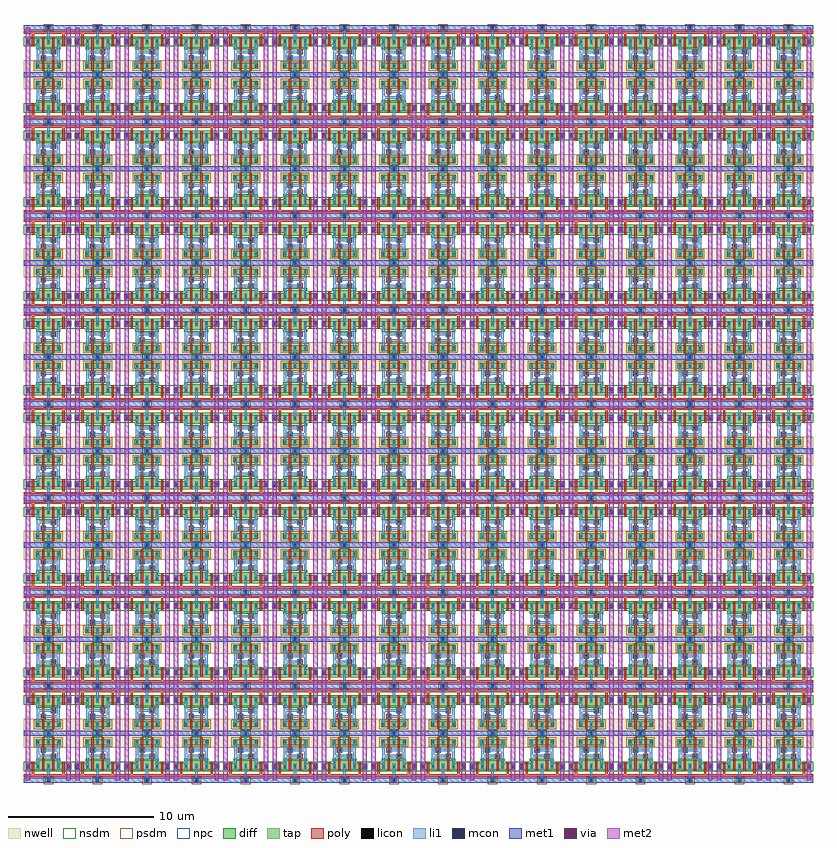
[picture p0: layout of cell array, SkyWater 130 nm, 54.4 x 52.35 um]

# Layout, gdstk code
import gdstk
lib = gdstk.Library(unit=1e-6, precision=1e-09)
def R(c, l, rs):  # rectangles x0, y0, x1, y1
    for r in rs: c.add(gdstk.rectangle(r[:2], r[2:], *l))
def A(c, l, x, y, w, h, nx, ny, dx, dy):  # array of equal rectangles
    R(c, l, [(x+i*dx, y+j*dy, x+i*dx+w, y+j*dy+h) for i in range(nx) for j in range(ny)])
nwell = (64, 20)
diff = (65, 20)
tap = (65, 44)
poly = (66, 20)
licon = (66, 44)
li1 = (67, 20)
mcon = (67, 44)
met1 = (68, 20)
via = (68, 44)
met2 = (69, 20)
nsdm = (93, 44)
psdm = (94, 20)
npc = (95, 20)

bitcell = lib.new_cell('bitcell')
R(bitcell, nwell, [(-0.3,1.5,3.1,2.81)])
R(bitcell, diff, [(-0.165,0,2.965,0.42), (0.7,0.42,2.1,0.63), (0.535,1.68,2.265,2.1)])
R(bitcell, tap, [(1.195,-0.87,1.605,-0.61), (1.195,2.37,1.605,2.63)])
R(bitcell, poly, [(-0.3,-0.49,3.1,-0.34), (0.275,-0.34,0.425,0.55), (2.375,-0.34,2.525,0.55), (0.975,-0.13,1.125,1.215), (1.675,-0.13,1.825,0.785), (1.585,0.785,1.915,1.055), (1.675,1.055,1.825,2.23), (0.885,1.215,1.215,1.485), (0.975,1.485,1.125,2.23)])
A(bitcell, licon, -0.085, 0.125, 0.17, 0.17, 5, 1, 0.7, 0)
A(bitcell, licon, 0.615, 1.805, 0.17, 0.17, 3, 1, 0.7, 0)
R(bitcell, licon, [(1.315,-0.825,1.485,-0.655), (1.665,0.835,1.835,1.005), (0.965,1.265,1.135,1.435), (1.315,2.415,1.485,2.585)])
R(bitcell, li1, [(1.315,-0.915,1.485,0.385), (-0.085,0.035,0.085,0.385), (0.615,0.035,0.785,0.835), (2.015,0.035,2.185,1.265), (2.715,0.035,2.885,0.385), (1.665,0.755,1.835,0.835), (0.615,0.835,1.835,1.005), (0.615,1.005,0.785,2.065), (1.665,1.005,1.835,1.085), (0.965,1.185,1.135,1.265), (0.965,1.265,2.185,1.435), (0.965,1.435,1.135,1.515), (2.015,1.435,2.185,2.065), (1.315,1.715,1.485,2.675)])
R(bitcell, mcon, [(1.315,-0.825,1.485,-0.655), (-0.085,0.125,0.085,0.295), (2.715,0.125,2.885,0.295), (1.315,2.415,1.485,2.585)])
R(bitcell, met1, [(-0.3,-0.92,3.1,-0.56), (-0.16,0.05,0.16,0.37), (2.64,0.05,2.96,0.37), (-0.3,2.32,3.1,2.68)])
R(bitcell, via, [(-0.075,0.135,0.075,0.285), (2.725,0.135,2.875,0.285)])
R(bitcell, met2, [(-0.15,-0.74,0.15,2.5), (2.65,-0.74,2.95,2.5)])
R(bitcell, nsdm, [(-0.29,-0.125,3.09,0.545), (0.575,0.545,2.225,0.755), (1.07,2.245,1.73,2.755)])
R(bitcell, psdm, [(1.07,-0.995,1.73,-0.485), (0.41,1.555,2.39,2.225)])
R(bitcell, npc, [(1.565,0.735,1.935,1.105), (0.865,1.165,1.235,1.535)])
bitcell.add(gdstk.Label('BL', (0,1), layer=69, texttype=5))
bitcell.add(gdstk.Label('BLB', (2.8,1), layer=69, texttype=5))
bitcell.add(gdstk.Label('WL', (1.4,-0.415), layer=66, texttype=5))
bitcell.add(gdstk.Label('VDD', (1.4,2.5), layer=68, texttype=5))
bitcell.add(gdstk.Label('GND', (1.4,-0.74), layer=68, texttype=5))
bitcell.add(gdstk.Label('Q', (0.7,1.1), layer=67, texttype=5))
bitcell.add(gdstk.Label('QB', (2.1,0.6), layer=67, texttype=5))

array = lib.new_cell('array')
A(array, nsdm, 3.09, -0.125, 0.02, 0.67, 15, 2, 3.4, 4.58)
A(array, nsdm, 3.09, 6.355, 0.02, 0.67, 15, 2, 3.4, 4.58)
A(array, nsdm, 3.09, 12.835, 0.02, 0.67, 15, 2, 3.4, 4.58)
A(array, nsdm, 3.09, 19.315, 0.02, 0.67, 15, 2, 3.4, 4.58)
A(array, nsdm, 3.09, 25.795, 0.02, 0.67, 15, 2, 3.4, 4.58)
A(array, nsdm, 3.09, 32.275, 0.02, 0.67, 15, 2, 3.4, 4.58)
A(array, nsdm, 3.09, 38.755, 0.02, 0.67, 15, 2, 3.4, 4.58)
A(array, nsdm, 3.09, 45.235, 0.02, 0.67, 15, 2, 3.4, 4.58)
array.add(gdstk.Reference(bitcell, (0,0)))
array.add(gdstk.Reference(bitcell, (3.4,0)))
array.add(gdstk.Reference(bitcell, (6.8,0)))
array.add(gdstk.Reference(bitcell, (10.2,0)))
array.add(gdstk.Reference(bitcell, (13.6,0)))
array.add(gdstk.Reference(bitcell, (17,0)))
array.add(gdstk.Reference(bitcell, (20.4,0)))
array.add(gdstk.Reference(bitcell, (23.8,0)))
array.add(gdstk.Reference(bitcell, (27.2,0)))
array.add(gdstk.Reference(bitcell, (30.6,0)))
array.add(gdstk.Reference(bitcell, (34,0)))
array.add(gdstk.Reference(bitcell, (37.4,0)))
array.add(gdstk.Reference(bitcell, (40.8,0)))
array.add(gdstk.Reference(bitcell, (44.2,0)))
array.add(gdstk.Reference(bitcell, (47.6,0)))
array.add(gdstk.Reference(bitcell, (51,0)))
array.add(gdstk.Reference(bitcell, (0,6.48)))
array.add(gdstk.Reference(bitcell, (0,5), x_reflection=True))
array.add(gdstk.Reference(bitcell, (3.4,6.48)))
array.add(gdstk.Reference(bitcell, (3.4,5), x_reflection=True))
array.add(gdstk.Reference(bitcell, (6.8,6.48)))
array.add(gdstk.Reference(bitcell, (6.8,5), x_reflection=True))
array.add(gdstk.Reference(bitcell, (10.2,6.48)))
array.add(gdstk.Reference(bitcell, (10.2,5), x_reflection=True))
array.add(gdstk.Reference(bitcell, (13.6,6.48)))
array.add(gdstk.Reference(bitcell, (13.6,5), x_reflection=True))
array.add(gdstk.Reference(bitcell, (17,6.48)))
array.add(gdstk.Reference(bitcell, (17,5), x_reflection=True))
array.add(gdstk.Reference(bitcell, (20.4,6.48)))
array.add(gdstk.Reference(bitcell, (20.4,5), x_reflection=True))
array.add(gdstk.Reference(bitcell, (23.8,6.48)))
array.add(gdstk.Reference(bitcell, (23.8,5), x_reflection=True))
array.add(gdstk.Reference(bitcell, (27.2,6.48)))
array.add(gdstk.Reference(bitcell, (27.2,5), x_reflection=True))
array.add(gdstk.Reference(bitcell, (30.6,6.48)))
array.add(gdstk.Reference(bitcell, (30.6,5), x_reflection=True))
array.add(gdstk.Reference(bitcell, (34,6.48)))
array.add(gdstk.Reference(bitcell, (34,5), x_reflection=True))
array.add(gdstk.Reference(bitcell, (37.4,6.48)))
array.add(gdstk.Reference(bitcell, (37.4,5), x_reflection=True))
array.add(gdstk.Reference(bitcell, (40.8,6.48)))
array.add(gdstk.Reference(bitcell, (40.8,5), x_reflection=True))
array.add(gdstk.Reference(bitcell, (44.2,6.48)))
array.add(gdstk.Reference(bitcell, (44.2,5), x_reflection=True))
array.add(gdstk.Reference(bitcell, (47.6,6.48)))
array.add(gdstk.Reference(bitcell, (47.6,5), x_reflection=True))
array.add(gdstk.Reference(bitcell, (51,6.48)))
array.add(gdstk.Reference(bitcell, (51,5), x_reflection=True))
array.add(gdstk.Reference(bitcell, (0,12.96)))
array.add(gdstk.Reference(bitcell, (0,11.48), x_reflection=True))
array.add(gdstk.Reference(bitcell, (3.4,12.96)))
array.add(gdstk.Reference(bitcell, (3.4,11.48), x_reflection=True))
array.add(gdstk.Reference(bitcell, (6.8,12.96)))
array.add(gdstk.Reference(bitcell, (6.8,11.48), x_reflection=True))
array.add(gdstk.Reference(bitcell, (10.2,12.96)))
array.add(gdstk.Reference(bitcell, (10.2,11.48), x_reflection=True))
array.add(gdstk.Reference(bitcell, (13.6,12.96)))
array.add(gdstk.Reference(bitcell, (13.6,11.48), x_reflection=True))
array.add(gdstk.Reference(bitcell, (17,12.96)))
array.add(gdstk.Reference(bitcell, (17,11.48), x_reflection=True))
array.add(gdstk.Reference(bitcell, (20.4,12.96)))
array.add(gdstk.Reference(bitcell, (20.4,11.48), x_reflection=True))
array.add(gdstk.Reference(bitcell, (23.8,12.96)))
array.add(gdstk.Reference(bitcell, (23.8,11.48), x_reflection=True))
array.add(gdstk.Reference(bitcell, (27.2,12.96)))
array.add(gdstk.Reference(bitcell, (27.2,11.48), x_reflection=True))
array.add(gdstk.Reference(bitcell, (30.6,12.96)))
array.add(gdstk.Reference(bitcell, (30.6,11.48), x_reflection=True))
array.add(gdstk.Reference(bitcell, (34,12.96)))
array.add(gdstk.Reference(bitcell, (34,11.48), x_reflection=True))
array.add(gdstk.Reference(bitcell, (37.4,12.96)))
array.add(gdstk.Reference(bitcell, (37.4,11.48), x_reflection=True))
array.add(gdstk.Reference(bitcell, (40.8,12.96)))
array.add(gdstk.Reference(bitcell, (40.8,11.48), x_reflection=True))
array.add(gdstk.Reference(bitcell, (44.2,12.96)))
array.add(gdstk.Reference(bitcell, (44.2,11.48), x_reflection=True))
array.add(gdstk.Reference(bitcell, (47.6,12.96)))
array.add(gdstk.Reference(bitcell, (47.6,11.48), x_reflection=True))
array.add(gdstk.Reference(bitcell, (51,12.96)))
array.add(gdstk.Reference(bitcell, (51,11.48), x_reflection=True))
array.add(gdstk.Reference(bitcell, (0,24.44), x_reflection=True))
array.add(gdstk.Reference(bitcell, (0,17.96), x_reflection=True))
array.add(gdstk.Reference(bitcell, (0,19.44)))
array.add(gdstk.Reference(bitcell, (3.4,24.44), x_reflection=True))
array.add(gdstk.Reference(bitcell, (3.4,17.96), x_reflection=True))
array.add(gdstk.Reference(bitcell, (3.4,19.44)))
array.add(gdstk.Reference(bitcell, (6.8,24.44), x_reflection=True))
array.add(gdstk.Reference(bitcell, (6.8,17.96), x_reflection=True))
array.add(gdstk.Reference(bitcell, (6.8,19.44)))
array.add(gdstk.Reference(bitcell, (10.2,24.44), x_reflection=True))
array.add(gdstk.Reference(bitcell, (10.2,17.96), x_reflection=True))
array.add(gdstk.Reference(bitcell, (10.2,19.44)))
array.add(gdstk.Reference(bitcell, (13.6,24.44), x_reflection=True))
array.add(gdstk.Reference(bitcell, (13.6,17.96), x_reflection=True))
array.add(gdstk.Reference(bitcell, (13.6,19.44)))
array.add(gdstk.Reference(bitcell, (17,24.44), x_reflection=True))
array.add(gdstk.Reference(bitcell, (17,17.96), x_reflection=True))
array.add(gdstk.Reference(bitcell, (17,19.44)))
array.add(gdstk.Reference(bitcell, (20.4,24.44), x_reflection=True))
array.add(gdstk.Reference(bitcell, (20.4,17.96), x_reflection=True))
array.add(gdstk.Reference(bitcell, (20.4,19.44)))
array.add(gdstk.Reference(bitcell, (23.8,24.44), x_reflection=True))
array.add(gdstk.Reference(bitcell, (23.8,17.96), x_reflection=True))
array.add(gdstk.Reference(bitcell, (23.8,19.44)))
array.add(gdstk.Reference(bitcell, (27.2,24.44), x_reflection=True))
array.add(gdstk.Reference(bitcell, (27.2,17.96), x_reflection=True))
array.add(gdstk.Reference(bitcell, (27.2,19.44)))
array.add(gdstk.Reference(bitcell, (30.6,24.44), x_reflection=True))
array.add(gdstk.Reference(bitcell, (30.6,17.96), x_reflection=True))
array.add(gdstk.Reference(bitcell, (30.6,19.44)))
array.add(gdstk.Reference(bitcell, (34,24.44), x_reflection=True))
array.add(gdstk.Reference(bitcell, (34,19.44)))
array.add(gdstk.Reference(bitcell, (34,17.96), x_reflection=True))
array.add(gdstk.Reference(bitcell, (37.4,24.44), x_reflection=True))
array.add(gdstk.Reference(bitcell, (37.4,19.44)))
array.add(gdstk.Reference(bitcell, (37.4,17.96), x_reflection=True))
array.add(gdstk.Reference(bitcell, (40.8,24.44), x_reflection=True))
array.add(gdstk.Reference(bitcell, (40.8,19.44)))
array.add(gdstk.Reference(bitcell, (40.8,17.96), x_reflection=True))
array.add(gdstk.Reference(bitcell, (44.2,24.44), x_reflection=True))
array.add(gdstk.Reference(bitcell, (44.2,19.44)))
array.add(gdstk.Reference(bitcell, (44.2,17.96), x_reflection=True))
array.add(gdstk.Reference(bitcell, (47.6,24.44), x_reflection=True))
array.add(gdstk.Reference(bitcell, (47.6,19.44)))
array.add(gdstk.Reference(bitcell, (47.6,17.96), x_reflection=True))
array.add(gdstk.Reference(bitcell, (51,24.44), x_reflection=True))
array.add(gdstk.Reference(bitcell, (51,19.44)))
array.add(gdstk.Reference(bitcell, (51,17.96), x_reflection=True))
array.add(gdstk.Reference(bitcell, (0,30.92), x_reflection=True))
array.add(gdstk.Reference(bitcell, (0,25.92)))
array.add(gdstk.Reference(bitcell, (3.4,30.92), x_reflection=True))
array.add(gdstk.Reference(bitcell, (3.4,25.92)))
array.add(gdstk.Reference(bitcell, (6.8,30.92), x_reflection=True))
array.add(gdstk.Reference(bitcell, (6.8,25.92)))
array.add(gdstk.Reference(bitcell, (10.2,30.92), x_reflection=True))
array.add(gdstk.Reference(bitcell, (10.2,25.92)))
array.add(gdstk.Reference(bitcell, (13.6,30.92), x_reflection=True))
array.add(gdstk.Reference(bitcell, (13.6,25.92)))
array.add(gdstk.Reference(bitcell, (17,30.92), x_reflection=True))
array.add(gdstk.Reference(bitcell, (17,25.92)))
array.add(gdstk.Reference(bitcell, (20.4,30.92), x_reflection=True))
array.add(gdstk.Reference(bitcell, (20.4,25.92)))
array.add(gdstk.Reference(bitcell, (23.8,30.92), x_reflection=True))
array.add(gdstk.Reference(bitcell, (23.8,25.92)))
array.add(gdstk.Reference(bitcell, (27.2,30.92), x_reflection=True))
array.add(gdstk.Reference(bitcell, (27.2,25.92)))
array.add(gdstk.Reference(bitcell, (30.6,30.92), x_reflection=True))
array.add(gdstk.Reference(bitcell, (30.6,25.92)))
array.add(gdstk.Reference(bitcell, (34,30.92), x_reflection=True))
array.add(gdstk.Reference(bitcell, (34,25.92)))
array.add(gdstk.Reference(bitcell, (37.4,30.92), x_reflection=True))
array.add(gdstk.Reference(bitcell, (37.4,25.92)))
array.add(gdstk.Reference(bitcell, (40.8,30.92), x_reflection=True))
array.add(gdstk.Reference(bitcell, (40.8,25.92)))
array.add(gdstk.Reference(bitcell, (44.2,30.92), x_reflection=True))
array.add(gdstk.Reference(bitcell, (44.2,25.92)))
array.add(gdstk.Reference(bitcell, (47.6,30.92), x_reflection=True))
array.add(gdstk.Reference(bitcell, (47.6,25.92)))
array.add(gdstk.Reference(bitcell, (51,30.92), x_reflection=True))
array.add(gdstk.Reference(bitcell, (51,25.92)))
array.add(gdstk.Reference(bitcell, (3.4,37.4), x_reflection=True))
array.add(gdstk.Reference(bitcell, (0,37.4), x_reflection=True))
array.add(gdstk.Reference(bitcell, (3.4,32.4)))
array.add(gdstk.Reference(bitcell, (0,32.4)))
array.add(gdstk.Reference(bitcell, (10.2,37.4), x_reflection=True))
array.add(gdstk.Reference(bitcell, (6.8,37.4), x_reflection=True))
array.add(gdstk.Reference(bitcell, (10.2,32.4)))
array.add(gdstk.Reference(bitcell, (6.8,32.4)))
array.add(gdstk.Reference(bitcell, (17,37.4), x_reflection=True))
array.add(gdstk.Reference(bitcell, (13.6,37.4), x_reflection=True))
array.add(gdstk.Reference(bitcell, (17,32.4)))
array.add(gdstk.Reference(bitcell, (13.6,32.4)))
array.add(gdstk.Reference(bitcell, (23.8,37.4), x_reflection=True))
array.add(gdstk.Reference(bitcell, (20.4,37.4), x_reflection=True))
array.add(gdstk.Reference(bitcell, (23.8,32.4)))
array.add(gdstk.Reference(bitcell, (20.4,32.4)))
array.add(gdstk.Reference(bitcell, (30.6,37.4), x_reflection=True))
array.add(gdstk.Reference(bitcell, (27.2,37.4), x_reflection=True))
array.add(gdstk.Reference(bitcell, (30.6,32.4)))
array.add(gdstk.Reference(bitcell, (27.2,32.4)))
array.add(gdstk.Reference(bitcell, (37.4,37.4), x_reflection=True))
array.add(gdstk.Reference(bitcell, (34,37.4), x_reflection=True))
array.add(gdstk.Reference(bitcell, (37.4,32.4)))
array.add(gdstk.Reference(bitcell, (34,32.4)))
array.add(gdstk.Reference(bitcell, (44.2,37.4), x_reflection=True))
array.add(gdstk.Reference(bitcell, (40.8,37.4), x_reflection=True))
array.add(gdstk.Reference(bitcell, (44.2,32.4)))
array.add(gdstk.Reference(bitcell, (40.8,32.4)))
array.add(gdstk.Reference(bitcell, (51,37.4), x_reflection=True))
array.add(gdstk.Reference(bitcell, (47.6,37.4), x_reflection=True))
array.add(gdstk.Reference(bitcell, (51,32.4)))
array.add(gdstk.Reference(bitcell, (47.6,32.4)))
array.add(gdstk.Reference(bitcell, (3.4,43.88), x_reflection=True))
array.add(gdstk.Reference(bitcell, (0,43.88), x_reflection=True))
array.add(gdstk.Reference(bitcell, (3.4,38.88)))
array.add(gdstk.Reference(bitcell, (0,38.88)))
array.add(gdstk.Reference(bitcell, (10.2,43.88), x_reflection=True))
array.add(gdstk.Reference(bitcell, (6.8,43.88), x_reflection=True))
array.add(gdstk.Reference(bitcell, (10.2,38.88)))
array.add(gdstk.Reference(bitcell, (6.8,38.88)))
array.add(gdstk.Reference(bitcell, (17,43.88), x_reflection=True))
array.add(gdstk.Reference(bitcell, (13.6,43.88), x_reflection=True))
array.add(gdstk.Reference(bitcell, (17,38.88)))
array.add(gdstk.Reference(bitcell, (13.6,38.88)))
array.add(gdstk.Reference(bitcell, (23.8,43.88), x_reflection=True))
array.add(gdstk.Reference(bitcell, (20.4,43.88), x_reflection=True))
array.add(gdstk.Reference(bitcell, (23.8,38.88)))
array.add(gdstk.Reference(bitcell, (20.4,38.88)))
array.add(gdstk.Reference(bitcell, (30.6,43.88), x_reflection=True))
array.add(gdstk.Reference(bitcell, (27.2,43.88), x_reflection=True))
array.add(gdstk.Reference(bitcell, (30.6,38.88)))
array.add(gdstk.Reference(bitcell, (27.2,38.88)))
array.add(gdstk.Reference(bitcell, (37.4,43.88), x_reflection=True))
array.add(gdstk.Reference(bitcell, (34,43.88), x_reflection=True))
array.add(gdstk.Reference(bitcell, (37.4,38.88)))
array.add(gdstk.Reference(bitcell, (34,38.88)))
array.add(gdstk.Reference(bitcell, (44.2,43.88), x_reflection=True))
array.add(gdstk.Reference(bitcell, (40.8,43.88), x_reflection=True))
array.add(gdstk.Reference(bitcell, (44.2,38.88)))
array.add(gdstk.Reference(bitcell, (40.8,38.88)))
array.add(gdstk.Reference(bitcell, (51,43.88), x_reflection=True))
array.add(gdstk.Reference(bitcell, (47.6,43.88), x_reflection=True))
array.add(gdstk.Reference(bitcell, (51,38.88)))
array.add(gdstk.Reference(bitcell, (47.6,38.88)))
array.add(gdstk.Reference(bitcell, (3.4,50.36), x_reflection=True))
array.add(gdstk.Reference(bitcell, (0,50.36), x_reflection=True))
array.add(gdstk.Reference(bitcell, (3.4,45.36)))
array.add(gdstk.Reference(bitcell, (0,45.36)))
array.add(gdstk.Reference(bitcell, (10.2,50.36), x_reflection=True))
array.add(gdstk.Reference(bitcell, (6.8,50.36), x_reflection=True))
array.add(gdstk.Reference(bitcell, (10.2,45.36)))
array.add(gdstk.Reference(bitcell, (6.8,45.36)))
array.add(gdstk.Reference(bitcell, (17,50.36), x_reflection=True))
array.add(gdstk.Reference(bitcell, (13.6,50.36), x_reflection=True))
array.add(gdstk.Reference(bitcell, (17,45.36)))
array.add(gdstk.Reference(bitcell, (13.6,45.36)))
array.add(gdstk.Reference(bitcell, (23.8,50.36), x_reflection=True))
array.add(gdstk.Reference(bitcell, (20.4,50.36), x_reflection=True))
array.add(gdstk.Reference(bitcell, (23.8,45.36)))
array.add(gdstk.Reference(bitcell, (20.4,45.36)))
array.add(gdstk.Reference(bitcell, (30.6,50.36), x_reflection=True))
array.add(gdstk.Reference(bitcell, (27.2,50.36), x_reflection=True))
array.add(gdstk.Reference(bitcell, (30.6,45.36)))
array.add(gdstk.Reference(bitcell, (27.2,45.36)))
array.add(gdstk.Reference(bitcell, (37.4,50.36), x_reflection=True))
array.add(gdstk.Reference(bitcell, (34,50.36), x_reflection=True))
array.add(gdstk.Reference(bitcell, (37.4,45.36)))
array.add(gdstk.Reference(bitcell, (34,45.36)))
array.add(gdstk.Reference(bitcell, (44.2,50.36), x_reflection=True))
array.add(gdstk.Reference(bitcell, (40.8,50.36), x_reflection=True))
array.add(gdstk.Reference(bitcell, (44.2,45.36)))
array.add(gdstk.Reference(bitcell, (40.8,45.36)))
array.add(gdstk.Reference(bitcell, (51,50.36), x_reflection=True))
array.add(gdstk.Reference(bitcell, (47.6,50.36), x_reflection=True))
array.add(gdstk.Reference(bitcell, (51,45.36)))
array.add(gdstk.Reference(bitcell, (47.6,45.36)))

lib.write_gds('array.gds')
